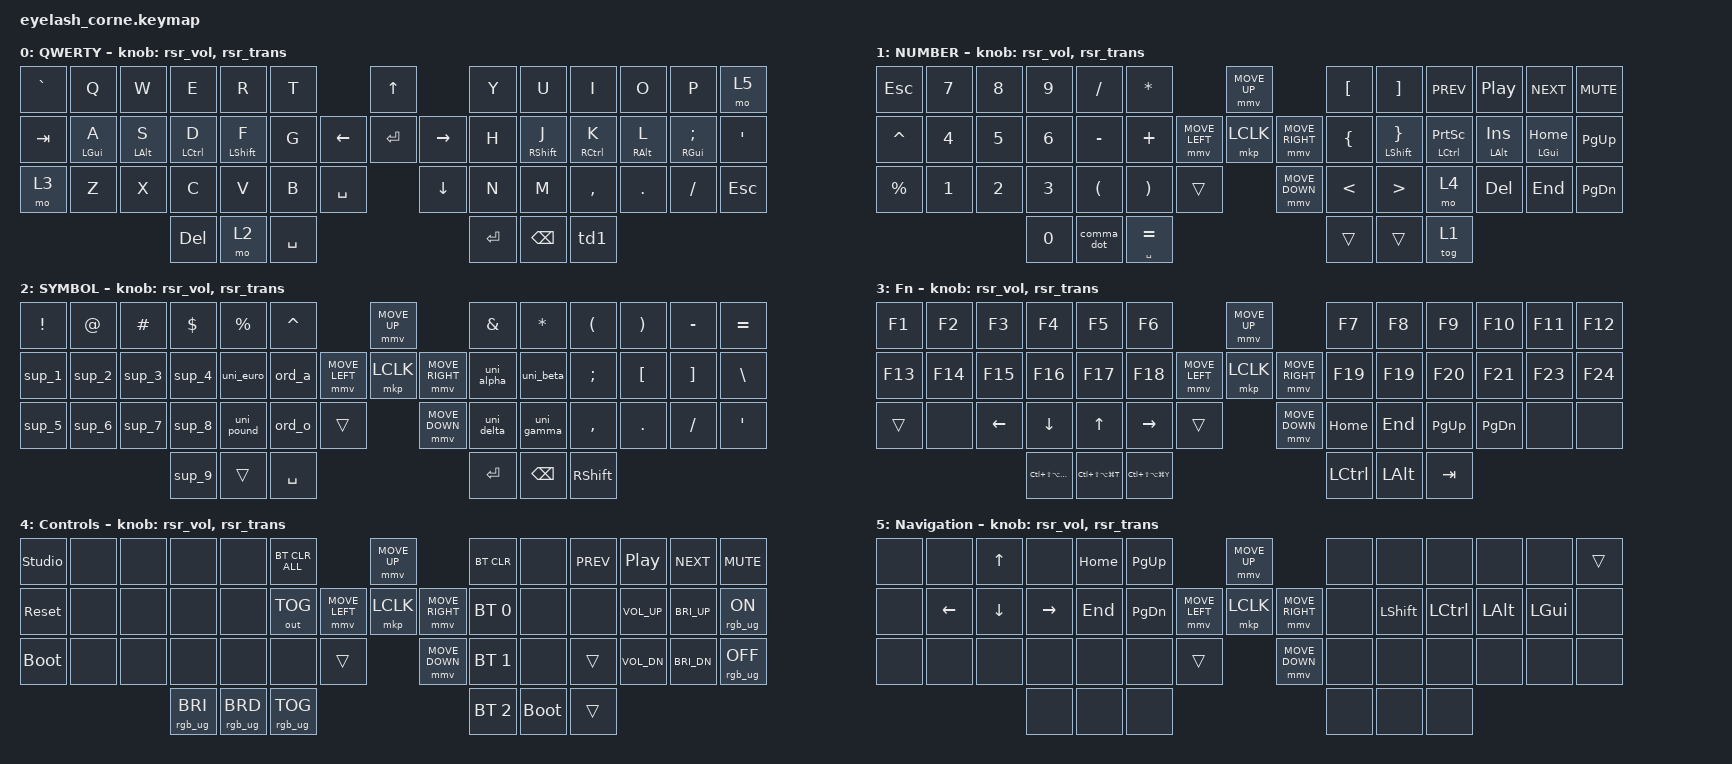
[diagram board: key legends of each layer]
#define ZMK_POINTING_DEFAULT_MOVE_VAL 1200  // 600
#define ZMK_POINTING_DEFAULT_SCRL_VAL 25   // 10

#include <input/processors.dtsi>
#include <zephyr/dt-bindings/input/input-event-codes.h>
#include <behaviors.dtsi>
#include <behaviors/runtime-sensor-rotate.dtsi>
#include <dt-bindings/zmk/bt.h>
#include <dt-bindings/zmk/keys.h>
#include <dt-bindings/zmk/outputs.h>
#include <dt-bindings/zmk/pointing.h>
#include <dt-bindings/zmk/rgb.h>

&mmv_input_listener { input-processors = <&zip_xy_scaler 2 1>; };

&msc_input_listener { input-processors = <&zip_scroll_scaler 2 1>; };

&msc {
    acceleration-exponent = <1>;      // 0
    time-to-max-speed-ms = <100>;       // 300
    delay-ms = <0>;                   // 0
};

&mmv {
    time-to-max-speed-ms = <500>;
    acceleration-exponent = <1>;
    trigger-period-ms = <16>;
};

&soft_off { hold-time-ms = <2000>; };

/ {
    behaviors {
        td0: td0 {
            compatible = "zmk,behavior-tap-dance";
            display-name = "Shift/Caps Lock Tap Dance";
            #binding-cells = <0>;
            bindings = <&kp LEFT_SHIFT>, <&kp CAPS>;
        };
		
        td1: td1 {
            compatible = "zmk,behavior-tap-dance";
            display-name = "Change Layer/Lock Layer Tap Dance";
            #binding-cells = <0>;
            bindings = <&mo 1>, <&tog 1>;
        };

        hm: homerow_mods {
            compatible = "zmk,behavior-hold-tap";
            #binding-cells = <2>;
            tapping-term-ms = <200>;
            quick-tap-ms = <0>;
            flavor = "tap-preferred";
            bindings = <&kp>, <&kp>;
        };

        spc_eq: spc_eq {
            compatible = "zmk,behavior-hold-tap";
            #binding-cells = <2>;
            flavor = "hold-preferred";
            tapping-term-ms = <200>;
            quick-tap-ms = <0>;
            bindings = <&kp>, <&kp>;
        };

        comma_dot: comma_dot {
            compatible = "zmk,behavior-tap-dance";
            display-name = "Comma/Dot Tap Dance";
            #binding-cells = <0>;
            bindings = <&kp COMMA>, <&kp DOT>;
        };
    };

    macros {
        ord_a: ord_a {
            compatible = "zmk,behavior-macro";
            #binding-cells = <0>;
            bindings
                = <&macro_press &kp LALT>
                , <&macro_tap &kp KP_N0 &kp KP_N1 &kp KP_N7 &kp KP_N0>
                , <&macro_release &kp LALT>
                ;
        };

        ord_o: ord_o {
            compatible = "zmk,behavior-macro";
            #binding-cells = <0>;
            bindings
                = <&macro_press &kp LALT>
                , <&macro_tap &kp KP_N0 &kp KP_N1 &kp KP_N8 &kp KP_N6>
                , <&macro_release &kp LALT>
                ;
        };

        uni_euro: uni_euro {
            compatible = "zmk,behavior-macro";
            #binding-cells = <0>;
            bindings
                = <&macro_press &kp LALT>
                , <&macro_tap &kp KP_N0 &kp KP_N1 &kp KP_N2 &kp KP_N8>
                , <&macro_release &kp LALT>
                ;
        };

        uni_pound: uni_pound {
            compatible = "zmk,behavior-macro";
            #binding-cells = <0>;
            bindings
                = <&macro_press &kp LALT>
                , <&macro_tap &kp KP_N0 &kp KP_N1 &kp KP_N6 &kp KP_N3>
                , <&macro_release &kp LALT>
                ;
        };

        uni_alpha: uni_alpha {
            compatible = "zmk,behavior-macro";
            #binding-cells = <0>;
            bindings
                = <&macro_press &kp LALT>
                , <&macro_tap &kp KP_PLUS &kp KP_N0 &kp KP_N3 &kp B &kp KP_N1>
                , <&macro_release &kp LALT>
                ;
        };

        uni_beta: uni_beta {
            compatible = "zmk,behavior-macro";
            #binding-cells = <0>;
            bindings
                = <&macro_press &kp LALT>
                , <&macro_tap &kp KP_PLUS &kp KP_N0 &kp KP_N3 &kp B &kp KP_N2>
                , <&macro_release &kp LALT>
                ;
        };

        uni_gamma: uni_gamma {
            compatible = "zmk,behavior-macro";
            #binding-cells = <0>;
            bindings
                = <&macro_press &kp LALT>
                , <&macro_tap &kp KP_PLUS &kp KP_N0 &kp KP_N3 &kp B &kp KP_N3>
                , <&macro_release &kp LALT>
                ;
        };

        uni_delta: uni_delta {
            compatible = "zmk,behavior-macro";
            #binding-cells = <0>;
            bindings
                = <&macro_press &kp LALT>
                , <&macro_tap &kp KP_PLUS &kp KP_N0 &kp KP_N3 &kp KP_N9 &kp KP_N4>
                , <&macro_release &kp LALT>
                ;
        };

        sup_1: sup_1 {
            compatible = "zmk,behavior-macro";
            #binding-cells = <0>;
            bindings
                = <&macro_press &kp LALT>
                , <&macro_tap &kp KP_N0 &kp KP_N1 &kp KP_N8 &kp KP_N5>
                , <&macro_release &kp LALT>
                ;
        };

        sup_2: sup_2 {
            compatible = "zmk,behavior-macro";
            #binding-cells = <0>;
            bindings
                = <&macro_press &kp LALT>
                , <&macro_tap &kp KP_N0 &kp KP_N1 &kp KP_N7 &kp KP_N8>
                , <&macro_release &kp LALT>
                ;
        };

        sup_3: sup_3 {
            compatible = "zmk,behavior-macro";
            #binding-cells = <0>;
            bindings
                = <&macro_press &kp LALT>
                , <&macro_tap &kp KP_N0 &kp KP_N1 &kp KP_N7 &kp KP_N9>
                , <&macro_release &kp LALT>
                ;
        };

        sup_4: sup_4 {
            compatible = "zmk,behavior-macro";
            #binding-cells = <0>;
            bindings
                = <&macro_press &kp LALT>
                , <&macro_tap &kp KP_PLUS &kp KP_N2 &kp KP_N0 &kp KP_N7 &kp KP_N4>
                , <&macro_release &kp LALT>
                ;
        };

        sup_5: sup_5 {
            compatible = "zmk,behavior-macro";
            #binding-cells = <0>;
            bindings
                = <&macro_press &kp LALT>
                , <&macro_tap &kp KP_PLUS &kp KP_N2 &kp KP_N0 &kp KP_N7 &kp KP_N5>
                , <&macro_release &kp LALT>
                ;
        };

        sup_6: sup_6 {
            compatible = "zmk,behavior-macro";
            #binding-cells = <0>;
            bindings
                = <&macro_press &kp LALT>
                , <&macro_tap &kp KP_PLUS &kp KP_N2 &kp KP_N0 &kp KP_N7 &kp KP_N6>
                , <&macro_release &kp LALT>
                ;
        };

        sup_7: sup_7 {
            compatible = "zmk,behavior-macro";
            #binding-cells = <0>;
            bindings
                = <&macro_press &kp LALT>
                , <&macro_tap &kp KP_PLUS &kp KP_N2 &kp KP_N0 &kp KP_N7 &kp KP_N7>
                , <&macro_release &kp LALT>
                ;
        };

        sup_8: sup_8 {
            compatible = "zmk,behavior-macro";
            #binding-cells = <0>;
            bindings
                = <&macro_press &kp LALT>
                , <&macro_tap &kp KP_PLUS &kp KP_N2 &kp KP_N0 &kp KP_N7 &kp KP_N8>
                , <&macro_release &kp LALT>
                ;
        };

        sup_9: sup_9 {
            compatible = "zmk,behavior-macro";
            #binding-cells = <0>;
            bindings
                = <&macro_press &kp LALT>
                , <&macro_tap &kp KP_PLUS &kp KP_N2 &kp KP_N0 &kp KP_N7 &kp KP_N9>
                , <&macro_release &kp LALT>
                ;
        };
    };

    rgb_encoder: rgb_encoder {
        compatible = "zmk,behavior-sensor-rotate";
        #sensor-binding-cells = <0>;
        bindings = <&rgb_ug RGB_BRI>, <&rgb_ug RGB_BRD>;
    };

    scroll_encoder: scroll_encoder {
        compatible = "zmk,behavior-sensor-rotate";
        #sensor-binding-cells = <0>;
        bindings = <&msc SCRL_DOWN>, <&msc SCRL_UP>;
        tap-ms = <100>;
    };

    behaviors {
        rsr_vol: rsr_vol {
            compatible = "zmk,behavior-runtime-sensor-rotate";
            #sensor-binding-cells = <0>;
            tap-ms = <5>;
            cw-binding = <&kp C_VOL_UP>;
            ccw-binding = <&kp C_VOL_DN>;
        };

        rsr_trans: rsr_trans {
            compatible = "zmk,behavior-runtime-sensor-rotate";
            #sensor-binding-cells = <0>;
            tap-ms = <0>;
        };
    };

    combos {
        compatible = "zmk,combos";
        softoff {
            bindings = <&soft_off>;
            key-positions = <1 15 29>;
        };
    };

    keymap {
        compatible = "zmk,keymap";

        default_layer {
            display-name = "QWERTY";
            bindings = <
&kp GRAVE  &kp Q       &kp W       &kp E        &kp R         &kp T                                  &kp UP                &kp Y        &kp U         &kp I        &kp O       &kp P          &mo 5
&kp TAB    &hm LGUI A  &hm LALT S  &hm LCTRL D  &hm LSHIFT F  &kp G                        &kp LEFT  &kp ENTER  &kp RIGHT  &kp H        &hm RSHIFT J  &hm RCTRL K  &hm RALT L  &hm RGUI SEMI  &kp SQT
&mo 3      &kp Z       &kp X       &kp C        &kp V         &kp B          &kp SPACE               &kp DOWN              &kp N        &kp M         &kp COMMA    &kp DOT     &kp FSLH       &kp ESC
                                   &kp DEL      &mo 2         &kp SPACE                                                    &kp ENTER    &kp BSPC      &td1
            >;

            sensor-bindings = <&rsr_vol &rsr_trans>;
        };

        number_layer {
            display-name = "NUMBER";
            bindings = <
&kp ESC    &kp N7      &kp N8      &kp N9       &kp FSLH      &kp ASTRK                              &mmv MOVE_UP                     &kp LBKT        &kp RBKT         &kp C_PREV       &kp C_PP        &kp C_NEXT    &kp C_MUTE
&kp CARET  &kp N4      &kp N5      &kp N6       &kp MINUS     &kp PLUS               &mmv MOVE_LEFT  &mkp LCLK       &mmv MOVE_RIGHT  &kp LBRC        &hm LSHIFT RBRC  &hm LCTRL PRINTSCREEN  &hm LALT INSERT &hm LGUI HOME &kp PG_UP
&kp PRCNT  &kp N1      &kp N2      &kp N3       &kp LPAR      &kp RPAR       &trans                  &mmv MOVE_DOWN                   &kp LT          &kp GT           &mo 4            &kp DEL         &kp END       &kp PG_DN
                                   &kp N0       &comma_dot                 &spc_eq SPACE EQUAL                                                     &trans          &trans           &tog 1
            >;

            sensor-bindings = <&rsr_vol &rsr_trans>;
        };

        symbol_layer {
            display-name = "SYMBOL";
            bindings = <
&kp EXCL  &kp AT  &kp HASH  &kp DLLR  &kp PRCNT  &kp CARET                              &mmv MOVE_UP                     &kp AMPS    &kp ASTRK  &kp LPAR   &kp RPAR   &kp MINUS  &kp EQUAL
&sup_1    &sup_2  &sup_3    &sup_4    &uni_euro  &ord_a                 &mmv MOVE_LEFT  &mkp LCLK       &mmv MOVE_RIGHT  &uni_alpha  &uni_beta  &kp SEMI   &kp LBKT   &kp RBKT   &kp BSLH
&sup_5    &sup_6  &sup_7    &sup_8    &uni_pound &ord_o        &trans                   &mmv MOVE_DOWN                   &uni_delta  &uni_gamma &kp COMMA  &kp DOT    &kp FSLH   &kp SQT
                            &sup_9    &trans     &kp SPACE                                                               &kp ENTER   &kp BSPC   &kp RSHIFT
            >;

            sensor-bindings = <&rsr_vol &rsr_trans>;
        };

        function_layer {
            display-name = "Fn";
            bindings = <
&kp F1    &kp F2    &kp F3    &kp F4    &kp F5    &kp F6                                 &mmv MOVE_UP                     &kp F7     &kp F8   &kp F9     &kp F10  &kp F11  &kp F12
&kp F13   &kp F14   &kp F15   &kp F16   &kp F17   &kp F18                &mmv MOVE_LEFT  &mkp LCLK       &mmv MOVE_RIGHT  &kp F19    &kp F19  &kp F20    &kp F21  &kp F23  &kp F24
&trans    &none     &kp LEFT  &kp DOWN  &kp UP    &kp RIGHT     &trans                   &mmv MOVE_DOWN                   &kp HOME   &kp END  &kp PG_UP  &kp PG_DN &none    &none
                              &kp LC(LS(LA(LG(O))))  &kp LC(LS(LA(LG(T))))  &kp LC(LS(LA(LG(Y))))                               &kp LCTRL  &kp LALT   &kp TAB
            >;

            sensor-bindings = <&rsr_vol &rsr_trans>;
        };

        controles_layer {
            display-name = "Controls";
            bindings = <
&studio_unlock  &none  &none  &none        &none        &bt BT_CLR_ALL                           &mmv MOVE_UP                     &bt BT_CLR    &none      &kp C_PREV  &kp C_PP     &kp C_NEXT   &kp C_MUTE
&sys_reset      &none  &none  &none        &none        &out OUT_TOG             &mmv MOVE_LEFT  &mkp LCLK       &mmv MOVE_RIGHT  &bt BT_SEL 0  &none      &none       &kp C_VOL_UP &kp C_BRI_UP &rgb_ug RGB_ON
&bootloader     &none  &none  &none        &none        &none          &trans                    &mmv MOVE_DOWN                   &bt BT_SEL 1  &none      &trans      &kp C_VOL_DN &kp C_BRI_DN &rgb_ug RGB_OFF
                              &rgb_ug RGB_BRI  &rgb_ug RGB_BRD  &rgb_ug RGB_TOG                                                   &bt BT_SEL 2  &bootloader &trans
            >;

            sensor-bindings = <&rsr_vol &rsr_trans>;
        };

        navigation_layer {
            display-name = "Navigation";
            bindings = <
&none  &none  &kp UP    &none      &kp HOME  &kp PG_UP                              &mmv MOVE_UP                     &none     &none     &none      &none       &none  &trans
&none  &kp LEFT &kp DOWN  &kp RIGHT  &kp END   &kp PG_DN              &mmv MOVE_LEFT  &mkp LCLK       &mmv MOVE_RIGHT  &none  &kp LSHIFT  &kp LCTRL  &kp LALT  &kp LGUI   &none
&none  &none  &none     &none      &none     &none          &trans                   &mmv MOVE_DOWN                   &none     &none     &none      &none       &none   &none
                        &none      &none     &none                                                                   &none     &none     &none
            >;

            sensor-bindings = <&rsr_vol &rsr_trans>;
        };
    };
};
